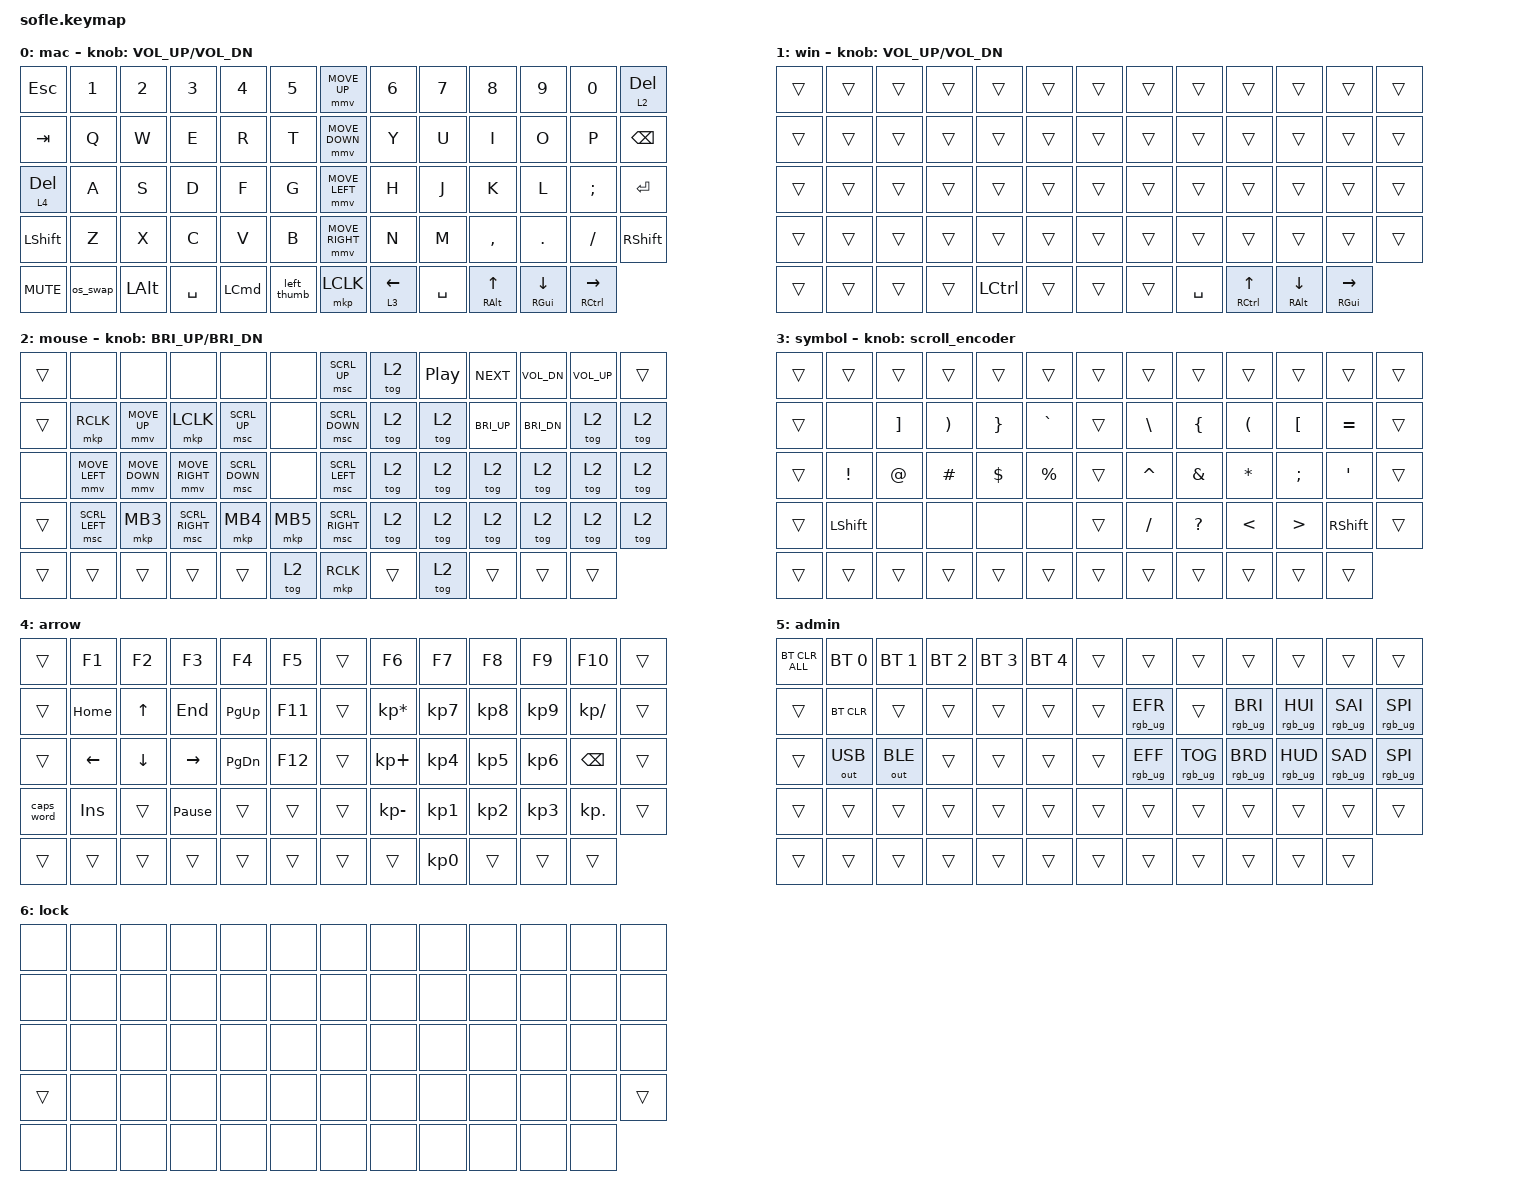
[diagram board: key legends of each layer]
#include <behaviors/mouse_keys.dtsi>
#include <behaviors.dtsi>
#include <dt-bindings/zmk/bt.h>
#include <dt-bindings/zmk/keys.h>
#include <dt-bindings/zmk/mouse.h>
#include <dt-bindings/zmk/outputs.h>
#include <dt-bindings/zmk/rgb.h>

#define ZMK_MOUSE_DEFAULT_MOVE_VAL 1200  // 600
#define ZMK_MOUSE_DEFAULT_SCRL_VAL 20    // 10
#define U_MS_U &mmv MOVE_UP
#define U_MS_D &mmv MOVE_DOWN
#define U_MS_L &mmv MOVE_LEFT
#define U_MS_R &mmv MOVE_RIGHT
#define ZMK_MOUSE_DEFAULT_MOVE_VAL 1200  //  600
#define ZMK_MOUSE_DEFAULT_SCRL_VAL 20    // 10

/ {
    behaviors {
        mmv {
            acceleration-exponent = <1>;      // 1
            time-to-max-speed-ms = <900>;    // 40
            delay-ms = <0>;                   // 0
        };

        msc {
            acceleration-exponent = <1>;      // 0
            time-to-max-speed-ms = <400>;      // 500
            delay-ms = <0>;                   //   10
        };
    };

    scroll_encoder: scroll_encoder {
        compatible = "zmk,behavior-sensor-rotate";
        #sensor-binding-cells = <0>;
        bindings = <&msc SCRL_DOWN>, <&msc SCRL_UP>;

        tap-ms = <30>;
    };

    os_swap: os_swap {
        compatible = "zmk,behavior-tap-dance";
        label = "OS_SWAP";
        #binding-cells = <0>;
        bindings = <&kp LCTRL>, <&tog 1>;
    };

    mod_layer: mod_layer {
        compatible = "zmk,behavior-hold-tap";
        label = "MOD_LAYER";
        bindings = <&kp>, <&tog>;

        #binding-cells = <2>;
        tapping-term-ms = <180>;
    };

    left_thumb: left_thumb {
        compatible = "zmk,behavior-tap-dance";
        label = "LEFT_THUMB";
        #binding-cells = <0>;
        bindings = <&lt 4 C_PLAY_PAUSE>, <&tog 2>;

        tapping-term-ms = <220>;
    };

    combos {
        compatible = "zmk,combos";

        next {
            bindings = <&kp C_NEXT>;
            key-positions = <57 56>;
            layers = <0 1>;
        };

        prev {
            bindings = <&kp C_PREV>;
            key-positions = <57 55>;
            layers = <0 1>;
        };

        lock {
            bindings = <&tog 6>;
            key-positions = <39 51>;
            layers = <0 1 6>;
        };

        mute {
            bindings = <&kp C_MUTE>;
            key-positions = <11 10>;
            layers = <2>;
        };

        six {
            bindings = <&kp N6>;
            key-positions = <2 3>;
            timeout-ms = <18>;
            layers = <0 1>;
        };

        media_prev {
            bindings = <&kp C_PREV>;
            key-positions = <8 9>;
            layers = <2>;
        };

        dash {
            bindings = <&kp MINUS>;
            key-positions = <22 23>;
            timeout-ms = <180>;
            layers = <3>;
        };
    };

    keymap {
        compatible = "zmk,keymap";

        mac {
            bindings = <
&kp ESCAPE  &kp N1    &kp N2        &kp N3     &kp N4    &kp N5         &mmv MOVE_UP     &kp N6      &kp N7     &kp N8            &kp N9              &kp N0           &lt 2 DEL
&kp TAB     &kp Q     &kp W         &kp E      &kp R     &kp T          &mmv MOVE_DOWN   &kp Y       &kp U      &kp I             &kp O               &kp P            &kp BACKSPACE
&lt 4 DEL   &kp A     &kp S         &kp D      &kp F     &kp G          &mmv MOVE_LEFT   &kp H       &kp J      &kp K             &kp L               &kp SEMI         &kp ENTER
&kp LSHFT   &kp Z     &kp X         &kp C      &kp V     &kp B          &mmv MOVE_RIGHT  &kp N       &kp M      &kp COMMA         &kp DOT             &kp FSLH         &kp RSHIFT
&kp C_MUTE  &os_swap  &kp LEFT_ALT  &kp SPACE  &kp LCMD  &left_thumb    &mkp LCLK        &lt 3 LEFT  &kp SPACE  &mt RIGHT_ALT UP  &mt RIGHT_GUI DOWN  &mt RCTRL RIGHT
            >;

            sensor-bindings = <&inc_dec_kp C_VOLUME_UP C_VOL_DN>;
            display-name = "mac";
            label = "mac";
        };

        win {
            display-name = "win";
            bindings = <
&trans  &trans  &trans  &trans  &trans     &trans    &trans  &trans  &trans     &trans        &trans              &trans          &trans
&trans  &trans  &trans  &trans  &trans     &trans    &trans  &trans  &trans     &trans        &trans              &trans          &trans
&trans  &trans  &trans  &trans  &trans     &trans    &trans  &trans  &trans     &trans        &trans              &trans          &trans
&trans  &trans  &trans  &trans  &trans     &trans    &trans  &trans  &trans     &trans        &trans              &trans          &trans
&trans  &trans  &trans  &trans  &kp LCTRL  &trans    &trans  &trans  &kp SPACE  &mt RCTRL UP  &mt RIGHT_ALT DOWN  &mt RGUI RIGHT
            >;

            sensor-bindings = <&inc_dec_kp C_VOL_UP C_VOL_DN>;
            label = "win";
        };

        mouse {
            bindings = <
&trans  &none           &none           &none            &none           &none       &msc SCRL_UP     &tog 2  &kp C_PLAY_PAUSE  &kp C_NEXT    &kp C_VOL_DN  &kp C_VOL_UP  &trans
&trans  &mkp RCLK       &mmv MOVE_UP    &mkp LCLK        &msc SCRL_UP    &none       &msc SCRL_DOWN   &tog 2  &tog 2            &kp C_BRI_UP  &kp C_BRI_DN  &tog 2        &tog 2
&none   &mmv MOVE_LEFT  &mmv MOVE_DOWN  &mmv MOVE_RIGHT  &msc SCRL_DOWN  &none       &msc SCRL_LEFT   &tog 2  &tog 2            &tog 2        &tog 2        &tog 2        &tog 2
&trans  &msc SCRL_LEFT  &mkp MB3        &msc SCRL_RIGHT  &mkp MB4        &mkp MB5    &msc SCRL_RIGHT  &tog 2  &tog 2            &tog 2        &tog 2        &tog 2        &tog 2
&trans  &trans          &trans          &trans           &trans          &tog 2      &mkp RCLK        &trans  &tog 2            &trans        &trans        &trans
            >;

            display-name = "mouse";
            label = "mouse";
            sensor-bindings = <&inc_dec_kp C_BRI_UP C_BRI_DN>;
        };

        symbol {
            label = "symbol";
            display-name = "symbol";
            bindings = <
&trans  &trans      &trans             &trans                 &trans           &trans         &trans  &trans         &trans          &trans                &trans            &trans           &trans
&trans  &none       &kp RIGHT_BRACKET  &kp RIGHT_PARENTHESIS  &kp RIGHT_BRACE  &kp GRAVE      &trans  &kp BACKSLASH  &kp LEFT_BRACE  &kp LEFT_PARENTHESIS  &kp LEFT_BRACKET  &kp EQUAL        &trans
&trans  &kp EXCL    &kp AT             &kp HASH               &kp DOLLAR       &kp PERCENT    &trans  &kp CARET      &kp AMPERSAND   &kp ASTERISK          &kp SEMICOLON     &kp APOS         &trans
&trans  &kp LSHIFT  &none              &none                  &none            &none          &trans  &kp SLASH      &kp QUESTION    &kp LESS_THAN         &kp GREATER_THAN  &kp RIGHT_SHIFT  &trans
&trans  &trans      &trans             &trans                 &trans           &trans         &trans  &trans         &trans          &trans                &trans            &trans
            >;

            sensor-bindings = <&scroll_encoder>;
        };

        arrow {
            bindings = <
&trans      &kp F1      &kp F2    &kp F3           &kp F4     &kp F5     &trans  &kp F6           &kp F7           &kp F8           &kp F9           &kp F10        &trans
&trans      &kp HOME    &kp UP    &kp END          &kp PG_UP  &kp F11    &trans  &kp KP_ASTERISK  &kp KP_NUMBER_7  &kp KP_NUMBER_8  &kp KP_NUMBER_9  &kp KP_DIVIDE  &trans
&trans      &kp LEFT    &kp DOWN  &kp RIGHT        &kp PG_DN  &kp F12    &trans  &kp KP_PLUS      &kp KP_NUMBER_4  &kp KP_NUMBER_5  &kp KP_NUMBER_6  &kp BACKSPACE  &trans
&caps_word  &kp INSERT  &trans    &kp PAUSE_BREAK  &trans     &trans     &trans  &kp KP_MINUS     &kp KP_NUMBER_1  &kp KP_NUMBER_2  &kp KP_NUMBER_3  &kp KP_DOT     &trans
&trans      &trans      &trans    &trans           &trans     &trans     &trans  &trans           &kp KP_NUMBER_0  &trans           &trans           &trans
            >;

            display-name = "arrow";
            label = "arrow";
        };

        admin {
            bindings = <
&bt BT_CLR_ALL  &bt BT_SEL 0  &bt BT_SEL 1  &bt BT_SEL 2  &bt BT_SEL 3  &bt BT_SEL 4    &trans  &trans           &trans           &trans           &trans           &trans           &trans
&trans          &bt BT_CLR    &trans        &trans        &trans        &trans          &trans  &rgb_ug RGB_EFR  &trans           &rgb_ug RGB_BRI  &rgb_ug RGB_HUI  &rgb_ug RGB_SAI  &rgb_ug RGB_SPI
&trans          &out OUT_USB  &out OUT_BLE  &trans        &trans        &trans          &trans  &rgb_ug RGB_EFF  &rgb_ug RGB_TOG  &rgb_ug RGB_BRD  &rgb_ug RGB_HUD  &rgb_ug RGB_SAD  &rgb_ug RGB_SPI
&trans          &trans        &trans        &trans        &trans        &trans          &trans  &trans           &trans           &trans           &trans           &trans           &trans
&trans          &trans        &trans        &trans        &trans        &trans          &trans  &trans           &trans           &trans           &trans           &trans
            >;

            label = "admin";
        };

        lock {
            bindings = <
&none   &none  &none  &none  &none  &none    &none  &none  &none  &none  &none  &none  &none
&none   &none  &none  &none  &none  &none    &none  &none  &none  &none  &none  &none  &none
&none   &none  &none  &none  &none  &none    &none  &none  &none  &none  &none  &none  &none
&trans  &none  &none  &none  &none  &none    &none  &none  &none  &none  &none  &none  &trans
&none   &none  &none  &none  &none  &none    &none  &none  &none  &none  &none  &none
            >;

            label = "lock";
        };
    };

    conditional_layers {
        compatible = "zmk,conditional-layers";

        admin {
            if-layers = <4 3>;
            then-layer = <5>;
        };
    };
};
